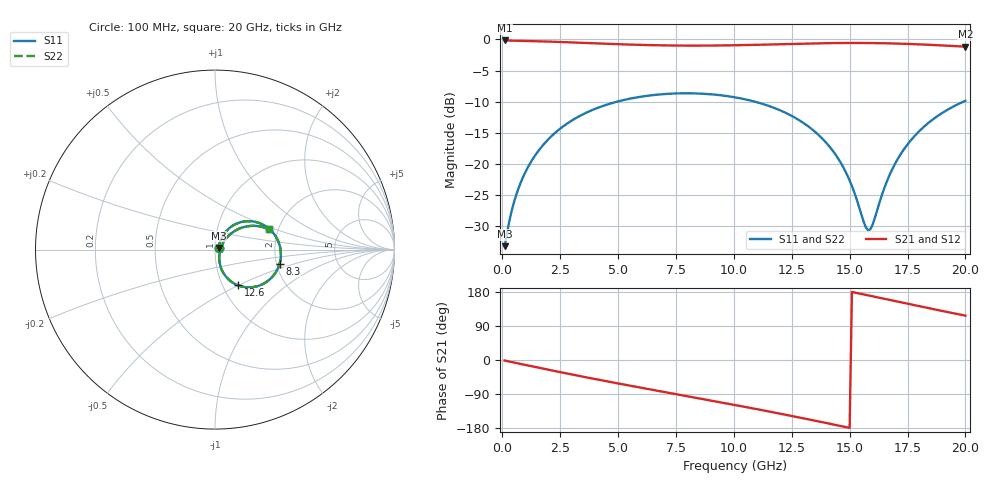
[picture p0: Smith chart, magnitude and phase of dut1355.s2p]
! Touchstone file exported from HFSS 2026.1.0
!  File:  C:/ffzhzh/LocalFiles/Ansys_Project_Files/temp_train_TSV_RDL_1355_1783341118_38820.aedt
!  Generated:  08:41:44 PM Jul  6, 2026
!  Design:  TSV_RDL
!  Project:  temp_train_TSV_RDL_1355_1783341118_38820
! Variables:
!  h_bsmrdl = 4.77um
!  h_ox = 20um
!  h_rdl = 5um
!  h_sub = 70.86um
!  h_tmrdl = 3.73um
!  h_tsv = 70.86um
!  h_via = 3um
!  l_bsmrdl = 743um
!  l_sub = 3769.15um
!  l_tmrdl = 255.39um
!  m_sub = 200um
!  pitch = 33.98um
!  r_tsv = 11.55um
!  s_tmrdl = 10um
!  w_bsmrdl = 10.98um
!  w_sub = 500um
!  w_tmrdl = 28.55um
!  x_tsv_center1 = 269.665um
!  x_tsv_center2 = 1023.645um
!  x_tsv_center3 = 1307.585um
!  x_tsv_center4 = 2061.565um
!  x_tsv_center5 = 2345.505um
!  x_tsv_center6 = 3099.485um
# GHz S MA R 50.000000
! Terminal data exported
! Port[1] = TM_RDL1_1_T1
! Port[2] = TM_RDL5_1_T1
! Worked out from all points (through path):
!   200 points, 100 MHz to 20 GHz, reference 50 ohm
!   highest |S21| = -0.17 dB at 100 MHz (marker M1); lowest = -1.2 dB at 20 GHz (marker M2)
!   group delay of S21, straight-line fit = 33.2 ps
!   lowest |S11| = -33.2 dB at 100 MHz (marker M3), VSWR 1.04, Z = 52 + j0.946 ohm
!   |S11| at or under -10 dB: start of sweep to 4.96 GHz; 10.9 GHz to 19.92 GHz (9.017 GHz wide, 58.5 % of centre)
!   |S22| runs from -33.2 to -8.7 dB; largest |S21 - S12| = 1.1e-13
!   S11 on the Smith chart (normalised r, x): 100 MHz: 1.04, +0.02; 8.3 GHz: 2.08, -0.38; 12.6 GHz: 1.18, -0.50; 20 GHz: 1.79, +0.45
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0.1  0.02183 24.6  0.9803 -1.4  0.9803 -1.4  0.02183 24.6
! Gamma 0 0 0 0
! Port Impedance 50 0 50 0
0.3  0.0344 47.6  0.9783 -4.0  0.9783 -4.0  0.0344 47.6
0.6  0.05621 57.8  0.9755 -7.9  0.9755 -7.9  0.05621 57.8
1.2  0.1009 59.9  0.9699 -15.6  0.9699 -15.6  0.1009 59.9
2.2  0.1721 52.6  0.9576 -28.3  0.9576 -28.3  0.1721 52.6
3.5  0.2511 39.1  0.9374 -44.2  0.9374 -44.2  0.2511 39.1
5.1  0.3211 21.7  0.9133 -63.0  0.9133 -63.0  0.3211 21.7
6.8  0.3614 3.5  0.896 -82.3  0.896 -82.3  0.3614 3.5
8.3  0.3683 -12.3  0.891 -99.0  0.891 -99.0  0.3683 -12.3
10.1  0.3411 -31.1  0.8974 -119.3  0.8974 -119.3  0.3412 -31.2
12.6  0.2372 -57.1  0.9205 -148.9  0.9205 -148.9  0.2372 -57.2
13.4  0.1882 -64.7  0.9278 -158.8  0.9278 -158.8  0.1881 -64.8
14.1  0.14 -70.1  0.9327 -167.6  0.9327 -167.6  0.14 -70.2
14.7  0.09594 -71.7  0.9354 -175.3  0.9354 -175.3  0.09588 -71.9
15.1  0.06635 -68.3  0.9361 179.6  0.9361 179.6  0.06625 -68.5
15.6  0.03461 -43.1  0.9356 173.1  0.9356 173.1  0.0344 -43.4
15.8  0.02924 -16.9  0.935 170.5  0.935 170.5  0.029 -17.0
16  0.03274 11.4  0.9342 167.9  0.9342 167.9  0.03251 11.5
16.7  0.07941 44.1  0.9292 158.8  0.9292 158.8  0.07932 44.3
17.3  0.1273 45.0  0.9225 151.0  0.9225 151.0  0.1272 45.1
18  0.1827 40.4  0.9122 142.0  0.9122 142.0  0.1827 40.5
20  0.321 20.7  0.8739 117.0  0.8739 117.0  0.321 20.7
